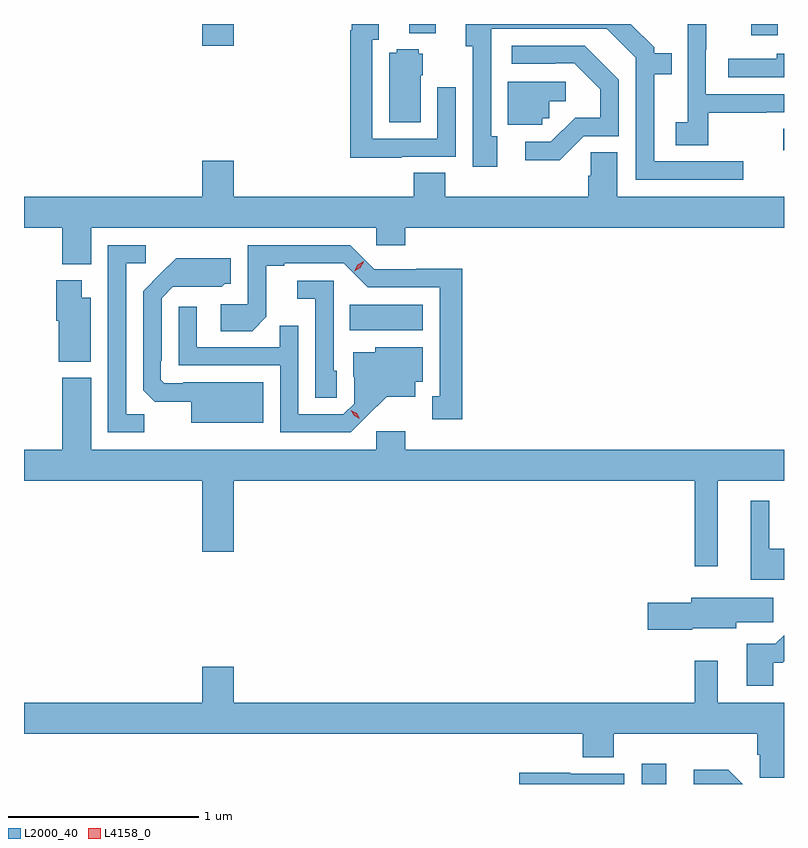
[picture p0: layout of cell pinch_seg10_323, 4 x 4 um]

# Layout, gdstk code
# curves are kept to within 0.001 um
import gdstk
lib = gdstk.Library(unit=1e-6, precision=1e-09)
def R(c, l, rs):  # rectangles x0, y0, x1, y1
    for r in rs: c.add(gdstk.rectangle(r[:2], r[2:], *l))
def P(c, l, *ps):  # polygons
    for p in ps: c.add(gdstk.Polygon(p, *l))
L2000_40 = (2000, 40)
L4158_0 = (4158, 0)

pinch_seg10_323 = lib.new_cell('pinch_seg10_323')
R(pinch_seg10_323, L2000_40, [(490.995,1285.4,491.125,1285.507), (489.46,1287.788,489.844,1287.922), (491.74,1288.736,491.745,1288.849), (488.684,1289.286,488.848,1289.4), (491.573,1289.34,491.713,1289.4), (489.773,1289.351,489.913,1289.4)])
P(pinch_seg10_323, L2000_40, [(491.53,1288.677),(491.062,1288.677),(491.062,1289.136),(491.153,1289.136),(491.153,1289.245),(491.061,1289.245),(491.061,1289.277),(490.938,1289.4),(490.07,1289.4),(490.07,1289.282),(490.107,1289.282),(490.107,1288.65),(490.237,1288.65),(490.237,1288.81),(490.203,1288.81),(490.203,1289.376),(490.812,1289.376),(490.965,1289.223),(490.965,1288.581),(491.53,1288.581)],
  [(491.347,1288.933),(491.651,1288.933),(491.651,1288.935),(491.745,1288.935),(491.745,1289.031),(491.334,1289.031),(491.334,1289.264),(491.337,1289.264),(491.337,1289.4),(491.238,1289.4),(491.238,1288.884),(491.175,1288.884),(491.175,1288.762),(491.347,1288.762)],
  [(489.733,1288.701),(490.017,1288.701),(490.017,1289.068),(489.921,1289.068),(489.921,1288.797),(489.579,1288.797),(489.579,1289.318),(489.613,1289.318),(489.613,1289.4),(489.471,1289.4),(489.471,1289.366),(489.463,1289.366),(489.463,1288.697),(489.733,1288.697)],
  [(490.692,1288.809),(490.875,1288.809),(490.875,1289.107),(490.696,1289.286),(490.311,1289.286),(490.311,1289.19),(490.541,1289.19),(490.541,1289.193),(490.641,1289.193),(490.778,1289.056),(490.778,1288.906),(490.645,1288.906),(490.518,1288.779),(490.383,1288.779),(490.383,1288.682),(490.564,1288.682)],
  [(489.832,1289.13),(489.844,1289.13),(489.844,1289.244),(489.822,1289.244),(489.822,1289.266),(489.708,1289.266),(489.708,1289.248),(489.668,1289.248),(489.668,1288.882),(489.832,1288.882)],
  [(491.745,1289.244),(491.706,1289.244),(491.706,1289.217),(491.451,1289.217),(491.451,1289.121),(491.745,1289.121)],
  [(490.473,1288.905),(490.509,1288.905),(490.509,1288.994),(490.597,1288.994),(490.597,1289.097),(490.292,1289.097),(490.292,1288.869),(490.473,1288.869)],
  [(488.098,1288.328),(489.6,1288.328),(489.6,1288.235),(489.752,1288.235),(489.752,1288.328),(491.745,1288.328),(491.745,1288.492),(490.867,1288.492),(490.867,1288.724),(490.729,1288.724),(490.729,1288.602),(490.715,1288.602),(490.715,1288.492),(489.962,1288.492),(489.962,1288.616),(489.797,1288.616),(489.797,1288.492),(488.848,1288.492),(488.848,1288.681),(488.684,1288.681),(488.684,1288.492),(487.745,1288.492),(487.745,1288.328),(487.946,1288.328),(487.946,1288.136),(488.098,1288.136)],
  [(490.051,1288.112),(489.81,1288.112),(489.81,1288.11),(489.588,1288.11),(489.462,1288.236),(488.922,1288.236),(488.922,1287.924),(488.781,1287.924),(488.781,1287.784),(488.945,1287.784),(489.021,1287.86),(489.021,1288.128),(489.115,1288.128),(489.115,1288.14),(489.429,1288.14),(489.555,1288.014),(489.932,1288.014),(489.932,1287.441),(489.893,1287.441),(489.893,1287.321),(490.051,1287.321)],
  [(488.379,1287.347),(488.283,1287.347),(488.283,1288.14),(488.386,1288.14),(488.386,1288.236),(488.187,1288.236),(488.187,1287.252),(488.379,1287.252)],
  [(489.004,1287.514),(488.584,1287.514),(488.584,1287.51),(488.484,1287.51),(488.466,1287.528),(488.466,1287.628),(488.469,1287.628),(488.469,1287.957),(488.529,1288.017),(488.786,1288.016),(488.802,1288.032),(488.833,1288.032),(488.833,1288.168),(488.545,1288.168),(488.373,1287.994),(488.373,1287.472),(488.432,1287.413),(488.624,1287.413),(488.624,1287.302),(489.004,1287.302)],
  [(488.095,1287.958),(488.05,1287.958),(488.05,1288.051),(487.916,1288.051),(487.916,1287.837),(487.928,1287.837),(487.928,1287.623),(488.095,1287.623)],
  [(489.39,1287.576),(489.375,1287.576),(489.375,1288.05),(489.183,1288.05),(489.183,1287.953),(489.279,1287.953),(489.279,1287.433),(489.39,1287.433)],
  [(489.55,1287.335),(489.653,1287.437),(489.805,1287.437),(489.805,1287.516),(489.844,1287.516),(489.844,1287.7),(489.594,1287.7),(489.594,1287.673),(489.479,1287.673),(489.479,1287.544),(489.483,1287.544),(489.483,1287.402),(489.426,1287.345),(489.189,1287.345),(489.189,1287.812),(489.091,1287.812),(489.091,1287.699),(488.655,1287.699),(488.655,1287.913),(488.559,1287.913),(488.559,1287.603),(489.093,1287.603),(489.093,1287.252),(489.466,1287.252)],
  [(491.395,1286.996),(491.745,1286.996),(491.745,1287.16),(489.752,1287.16),(489.752,1287.256),(489.6,1287.256),(489.6,1287.16),(488.098,1287.16),(488.098,1287.538),(487.946,1287.538),(487.946,1287.16),(487.745,1287.16),(487.745,1286.996),(488.684,1286.996),(488.684,1286.622),(488.848,1286.622),(488.848,1286.996),(491.274,1286.996),(491.274,1286.547),(491.395,1286.547)],
  [(491.745,1286.638),(491.668,1286.638),(491.668,1286.89),(491.57,1286.89),(491.57,1286.474),(491.745,1286.474)],
  [(491.262,1286.219),(491.494,1286.219),(491.494,1286.251),(491.689,1286.251),(491.689,1286.38),(491.258,1286.38),(491.258,1286.354),(491.028,1286.354),(491.028,1286.212),(491.262,1286.212)],
  [(491.689,1286.039),(491.738,1286.039),(491.745,1286.046),(491.745,1286.184),(491.698,1286.137),(491.549,1286.137),(491.549,1285.917),(491.689,1285.917)],
  [(491.745,1285.828),(491.395,1285.828),(491.395,1286.05),(491.274,1286.05),(491.274,1285.828),(488.848,1285.828),(488.848,1286.017),(488.684,1286.017),(488.684,1285.828),(487.745,1285.828),(487.745,1285.664),(490.685,1285.664),(490.685,1285.54),(490.85,1285.54),(490.85,1285.664),(491.603,1285.664),(491.603,1285.554),(491.617,1285.554),(491.617,1285.432),(491.745,1285.432)],
  [(491.452,1285.475),(491.271,1285.475),(491.271,1285.4),(491.527,1285.4)],
  [(490.905,1285.455),(490.621,1285.455),(490.621,1285.459),(490.351,1285.459),(490.351,1285.4),(490.905,1285.4)])
P(pinch_seg10_323, L4158_0, [(489.483,1288.099),(489.483,1288.1),(489.501,1288.132),(489.532,1288.151),(489.533,1288.151),(489.533,1288.15),(489.515,1288.118),(489.483,1288.099)],
  [(489.513,1287.323),(489.482,1287.338),(489.465,1287.367),(489.465,1287.368),(489.466,1287.368),(489.496,1287.352),(489.513,1287.323),(489.513,1287.323)])

lib.write_gds('pinch_seg10_323.gds')
